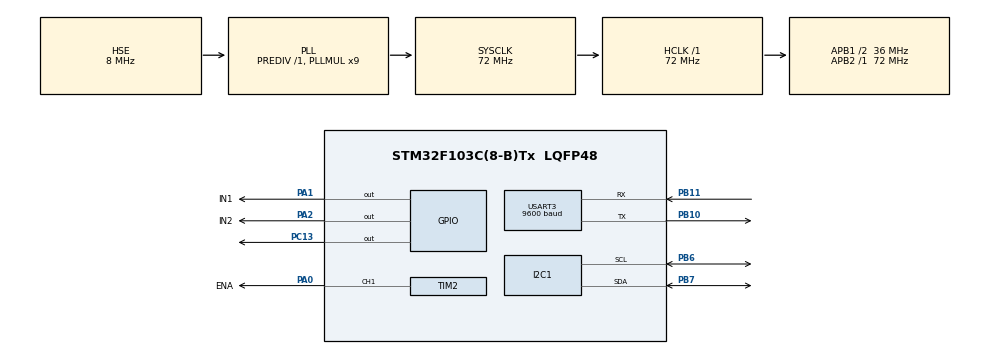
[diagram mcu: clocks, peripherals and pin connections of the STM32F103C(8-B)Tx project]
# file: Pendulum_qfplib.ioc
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I2C1.I2C_Mode=I2C_Fast
Mcu.Family=STM32F1
Mcu.Name=STM32F103C(8-B)Tx
Mcu.Package=LQFP48
NVIC.PriorityGroup=NVIC_PRIORITYGROUP_4
NVIC.USART3_IRQn=true\:0\:0\:false\:false\:true\:true\:true
PA0-WKUP.GPIO_Label=ENA
PA0-WKUP.Signal=S_TIM2_CH1_ETR
PA1.GPIO_Label=IN1
PA1.Signal=GPIO_Output
PA13.Mode=Serial_Wire
PA13.Signal=SYS_JTMS-SWDIO
PA14.Mode=Serial_Wire
PA14.Signal=SYS_JTCK-SWCLK
PA2.GPIO_Label=IN2
PA2.Signal=GPIO_Output
PB10.Mode=Asynchronous
PB10.Signal=USART3_TX
PB11.Mode=Asynchronous
PB11.Signal=USART3_RX
PB6.Mode=I2C
PB6.Signal=I2C1_SCL
PB7.Mode=I2C
PB7.Signal=I2C1_SDA
PC13-TAMPER-RTC.Signal=GPIO_Output
PD0-OSC_IN.Mode=HSE-External-Oscillator
PD0-OSC_IN.Signal=RCC_OSC_IN
PD1-OSC_OUT.Mode=HSE-External-Oscillator
PD1-OSC_OUT.Signal=RCC_OSC_OUT
ProjectManager.HeapSize=0x200
ProjectManager.StackSize=0x400
ProjectManager.TargetToolchain=STM32CubeIDE
RCC.AHBFreq_Value=72000000
RCC.APB1CLKDivider=RCC_HCLK_DIV2
RCC.APB1Freq_Value=36000000
RCC.APB1TimFreq_Value=72000000
RCC.APB2Freq_Value=72000000
RCC.APB2TimFreq_Value=72000000
RCC.HCLKFreq_Value=72000000
RCC.PLLMUL=RCC_PLL_MUL9
RCC.PLLSourceVirtual=RCC_PLLSOURCE_HSE
RCC.SYSCLKFreq_VALUE=72000000
RCC.SYSCLKSource=RCC_SYSCLKSOURCE_PLLCLK
RCC.USBFreq_Value=72000000
SH.S_TIM2_CH1_ETR.0=TIM2_CH1,PWM Generation1 CH1
TIM2.Channel-PWM\ Generation1\ CH1=TIM_CHANNEL_1
TIM2.Period=1999
TIM2.Prescaler=17
TIM3.Prescaler=719
USART3.BaudRate=9600
USART3.VirtualMode=VM_ASYNC
VP_TIM3_VS_ClockSourceINT.Mode=Internal
board=custom

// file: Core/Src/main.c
/* USER CODE BEGIN Header */
/**
  ******************************************************************************
  * @file           : main.c
  * @brief          : Main program body
  ******************************************************************************
  * @attention
  *
  * Copyright (c) 2022 STMicroelectronics.
  * All rights reserved.
  *
  * This software is licensed under terms that can be found in the LICENSE file
  * in the root directory of this software component.
  * If no LICENSE file comes with this software, it is provided AS-IS.
  *
  ******************************************************************************
  */
/* USER CODE END Header */
#include "main.h"
#include "i2c.h"
#include "tim.h"
#include "usart.h"
#include "gpio.h"

/* USER CODE BEGIN Includes */
#include "mpu6050.h"
/* USER CODE END Includes */

/* USER CODE BEGIN PV */
MPU6050_t MPU6050;
/* USER CODE END PV */

void SystemClock_Config(void);

int main(void)
{
  /* USER CODE BEGIN 1 */
  /* Var Init*/

  targetAngle = 0.0;
  lastError = 0.0;

  kp = 0;
  ki = 0;
  kd = 0;

  duty = 0;
  counter = 0;
  counter2 = 0;

  CONTROL_ANGLE_LIMIT = 10;
  END_RISE_UP_ANGLE = 4;
  DITHERING_RATE = 0;
  ANGLE_FILTER = 0.95; // 0.9-0.95 less filter delay - more noise
  GYRO_FIXRATE = 0.5;
  GYRO_ANGLE_DELTA_LIMIT = 0.1;

  //taken from mpu6050.c
  accelxy_div = 16384.0;
  accelz_div = 14418.0;
  gyro_div = 131.0;

  //taken from previous calibration
  AccErrorX = 0.07;
  AccErrorY = -2.49;
  GyroErrorX = -4.79;
  GyroErrorY = 0.02;
  GyroErrorZ = -0.05;

  /* USER CODE END 1 */

  /* MCU Configuration--------------------------------------------------------*/

  /* Reset of all peripherals, Initializes the Flash interface and the Systick. */
  HAL_Init();

  /* USER CODE BEGIN Init */
  run = on;
  state = equilibrium;

  /* USER CODE END Init */

  /* Configure the system clock */
  SystemClock_Config();

  /* Initialize all configured peripherals */
  MX_GPIO_Init();
  MX_I2C1_Init();
  MX_TIM3_Init();
  MX_TIM2_Init();
  MX_USART3_UART_Init();
  /* USER CODE BEGIN 2 */

  //START TIM1
  HAL_TIM_Base_Start(&htim3);

  while (MPU6050_Init(&hi2c1) == 1);

  //START UART
  HAL_UART_Receive_IT(&huart3, UART3_rxBuffer, 1);

  //START PWM
  HAL_TIM_PWM_Start(&htim2,TIM_CHANNEL_1);
  __HAL_TIM_SetCompare(&htim2,TIM_CHANNEL_1, 0);

  /* USER CODE END 2 */

  /* Infinite loop */
  /* USER CODE BEGIN WHILE */
  printf("Program Started\r\n");
  HAL_Delay(2000);
  elapsedTime = 0;
  startTime = 0;
  prevTime = 0;
  __HAL_TIM_SET_COUNTER(&htim3,0);  // Restart the counter value

  while (1){

	  // Read data
	  if (I2C1->SR1 != 0x0){ //BERR or ARLO Flagged0
		  printf("SR1 cleared\r\n");
		  I2C1->SR1 = 0x0;
	  }

	  MPU6050_Read();

	  // Calculating Pitch from accelerometer data

	  //qfp form
	  AccY2 = qfp_fmul(AccY, AccY);
	  AccZ2 = qfp_fmul(AccZ, AccZ);
	  denominator = qfp_fsqrt(qfp_fadd(AccY, AccZ));
	  numerator = qfp_fmul(-1, AccX);
	  aux = qfp_fatan2(numerator, denominator);
	  accPitch = qfp_fsub(qfp_fmul(aux, qfp_fdiv(180, PI)), AccErrorY);

	  //math.h form
	  //accPitch = (atan(-1 * AccX / sqrt(pow(AccY,2) + pow(AccZ,2))) * 180 / PI) - AccErrorY;

	  if(counter == 0){
		  if(accPitch > 0){
			  is_angle_positive = 1;
		  } else{
			  is_angle_positive = 0;
		  }
	  }
	  // Correct the outputs with the calculated error values
	  //qfp form
	  GyX = qfp_fsub(GyX, GyroErrorX);
	  GyY = qfp_fsub(GyY, GyroErrorY);
	  GyZ = qfp_fsub(GyZ, GyroErrorZ);

	  // COMPLEMENTARY FILTER
	  gyroAngleDelta = qfp_fmul(-1, GyZ);
	  gyroAngleDelta = qfp_fmul(gyroAngleDelta, dt);
	  gyroAngleDelta = qfp_fmul(gyroAngleDelta, GYRO_FIXRATE);

	  if(counter == 0){
		  gyroAngle = accPitch;
	  }

	  if(abs(gyroAngleDelta) > GYRO_ANGLE_DELTA_LIMIT){
		  gyroAngleDelta = 0;
	  }
	  gyroAngle = qfp_fadd(gyroAngle, gyroAngleDelta);

	  if(isnan(accPitch)) {
		  accPitch = 0;
	  }

	  if(counter == 0){
		  filteredAngle = accPitch;
	  } else{
		  filteredAngle = qfp_fmul(ANGLE_FILTER, qfp_fadd(filteredAngle, gyroAngleDelta));
		  aux = qfp_fsub(1, ANGLE_FILTER);
		  filteredAngle = qfp_fadd(filteredAngle,  qfp_fmul(aux, accPitch));
	  }

	  counter++;
	  switch(run){
	  case on:
		  // Time Measurement
		  dt_us = Get_dt_us();
		  elapsedTime += dt_us;
		  //divide by 1e6 from us to s
		  dt = qfp_fdiv(dt_us, 1000000);

		  switch(state){
		  case equilibrium:

			  //  Turn off if it falls off
			  //if(abs(filteredAngle) > CONTROL_ANGLE_LIMIT){
			  //	printf("Angle too large, turning off\r\n");
			  //	run = off;
			  //}

			  // DITHERING for more responsiveness
			  aux = qfp_fmul(DITHERING_RATE, dt);
			  if (filteredAngle < targetAngle){
				  targetAngle = qfp_fadd(targetAngle, aux);
			  } else{
				  targetAngle = qfp_fsub(targetAngle, aux);
			  }

			  //clamp dithering
			  if (targetAngle < -5) targetAngle = -5;
			  else if(targetAngle > 5) targetAngle = 5;

			  // PROPORTIONAL
			  error = qfp_fsub(targetAngle, filteredAngle);

			  // DERIVATIVE
			  dError = qfp_fdiv(qfp_fsub(error, lastError), dt);
			  lastError = error;
			  if(counter2 == 0){
				  dError = 0;
			  }
			  // INTEGRAL
			  sumError = qfp_fadd(sumError, qfp_fmul(error, dt));
			  // SATURATION for integral windup
			  if (sumError < -DUTY_MAX*ICF) sumError = -DUTY_MAX*ICF;
			  else if(sumError > DUTY_MAX*ICF) sumError = DUTY_MAX*ICF;

			  // CONTROL
			  pid = qfp_fadd(qfp_fadd(qfp_fmul(kp, error), qfp_fmul(kd, dError)), qfp_fmul(ki, sumError));
			  // SATURATION for duty cycle
			  // constrained by TIM2_ARR/DUTY_MAX
			  control = pid;
			  if (control < -DUTY_MAX) control = -DUTY_MAX;
			  else if(control > DUTY_MAX) control = DUTY_MAX;

			  //Set direction
			  if(control > 0.0){
				  Set_DIR(1);
			  } else{
				  Set_DIR(0);
			  }

			  duty = (uint32_t) abs(control); // first take the sign away and then cast to uint32_t

			  // ENA Pin - Timer 2 Channel 1
			  __HAL_TIM_SET_COMPARE(&htim2, TIM_CHANNEL_1, duty);

			  counter2++;

			  break;

		  case rise_up: //3 seconds to start spinning and 1 more to switch dir
			  if (elapsedTime < riseup_time1){ // elapsed time in microseconds

				  if (is_angle_positive){
					  Set_DIR(1);
				  } else{
					  Set_DIR(0);
				  }
				  __HAL_TIM_SET_COMPARE(&htim2, TIM_CHANNEL_1, RISE_UP_DUTY);

			  } else if (elapsedTime < riseup_time2){

				  //  Switch direction
				  if (is_angle_positive){
					  Set_DIR(0);
				  } else{
					  Set_DIR(1);
				  }

				  //  End rise up sequence if it got up
				  if(abs(filteredAngle) < END_RISE_UP_ANGLE){
					  printf("Rise up success\r\n");
					  state = equilibrium;
				  }

			  } else{
				  printf("Rise up sequence failed, turning off\r\n");
				  run = off;
			  }

			  break;

		  case test:
			  //debug only
			  Set_DIR(1);
			  __HAL_TIM_SET_COMPARE(&htim2, TIM_CHANNEL_1, DUTY_MAX);
			  HAL_Delay(5000);
			  Set_DIR(0);
			  HAL_Delay(5000);
			  break;

		  default:
			  break;

		  }
		  break;
	  case off:
		  __HAL_TIM_SET_COMPARE(&htim2, TIM_CHANNEL_1, 0);
		  //Blink
		  HAL_GPIO_TogglePin(GPIOC, GPIO_PIN_13);
		  HAL_Delay(500);
		  printf("Waiting...\r\n");

		  //  Reset variables

		  targetAngle = 0.0;
		  lastError = 0.0;
		  dError = 0.0;
		  sumError = 0.0;

		  duty = 0;
		  counter = 0;
		  counter2 = 0;

		  elapsedTime = 0;
		  break;

	  default:
		  break;

	  }
    /* USER CODE END WHILE */

  }
}

void SystemClock_Config(void)
{
  RCC_OscInitTypeDef RCC_OscInitStruct = {0};
  RCC_ClkInitTypeDef RCC_ClkInitStruct = {0};

  /** Initializes the RCC Oscillators according to the specified parameters
  * in the RCC_OscInitTypeDef structure.
  */
  RCC_OscInitStruct.OscillatorType = RCC_OSCILLATORTYPE_HSE;
  RCC_OscInitStruct.HSEState = RCC_HSE_ON;
  RCC_OscInitStruct.HSEPredivValue = RCC_HSE_PREDIV_DIV1;
  RCC_OscInitStruct.HSIState = RCC_HSI_ON;
  RCC_OscInitStruct.PLL.PLLState = RCC_PLL_ON;
  RCC_OscInitStruct.PLL.PLLSource = RCC_PLLSOURCE_HSE;
  RCC_OscInitStruct.PLL.PLLMUL = RCC_PLL_MUL9;
  if (HAL_RCC_OscConfig(&RCC_OscInitStruct) != HAL_OK)
  {
    Error_Handler();
  }
  /** Initializes the CPU, AHB and APB buses clocks
  */
  RCC_ClkInitStruct.ClockType = RCC_CLOCKTYPE_HCLK|RCC_CLOCKTYPE_SYSCLK
                              |RCC_CLOCKTYPE_PCLK1|RCC_CLOCKTYPE_PCLK2;
  RCC_ClkInitStruct.SYSCLKSource = RCC_SYSCLKSOURCE_PLLCLK;
  RCC_ClkInitStruct.AHBCLKDivider = RCC_SYSCLK_DIV1;
  RCC_ClkInitStruct.APB1CLKDivider = RCC_HCLK_DIV2;
  RCC_ClkInitStruct.APB2CLKDivider = RCC_HCLK_DIV1;

  if (HAL_RCC_ClockConfig(&RCC_ClkInitStruct, FLASH_LATENCY_2) != HAL_OK)
  {
    Error_Handler();
  }
}

/* USER CODE BEGIN 4 */

float measure_calc_routine_duration(){
	return (float)HAL_GetTick()/counter2;

}

void MPU6050_Read(){
	MPU6050_Read_Accel(&hi2c1, &MPU6050);
	MPU6050_Read_Gyro(&hi2c1, &MPU6050);

	//cast raw values to int32_t, make them fix16_t and divide by corrector value from mpu6050.c
	AccX = qfp_fdiv((float)MPU6050.Accel_X_RAW, accelxy_div);
	AccY = qfp_fdiv((float)MPU6050.Accel_Y_RAW, accelxy_div);
	AccZ = qfp_fdiv((float)MPU6050.Accel_Z_RAW, accelz_div);
	GyX = qfp_fdiv((float)MPU6050.Gyro_X_RAW, gyro_div);
	GyY = qfp_fdiv((float)MPU6050.Gyro_Y_RAW, gyro_div);
	GyZ = qfp_fdiv((float)MPU6050.Gyro_Z_RAW, gyro_div);

}

void Set_DIR(uint8_t dir){
	if(dir == 1){
		HAL_GPIO_WritePin(IN1_GPIO_Port, IN1_Pin, SET);
		HAL_GPIO_WritePin(IN2_GPIO_Port, IN2_Pin, RESET);
	} else{
		HAL_GPIO_WritePin(IN1_GPIO_Port, IN1_Pin, RESET);
		HAL_GPIO_WritePin(IN2_GPIO_Port, IN2_Pin, SET);
	}
}

uint32_t Get_dt_us(){
	uint32_t dt_us;
	dt_us = __HAL_TIM_GET_COUNTER(&htim3)*10;  // TIM3 clock 0.1MHz which is 10us per tick
	__HAL_TIM_SET_COUNTER(&htim3, 0);  // Restart the counter value
	return dt_us;
}

/* USER CODE END 4 */

void Error_Handler(void)
{
  __disable_irq();
  while (1)
  {
  }
}
